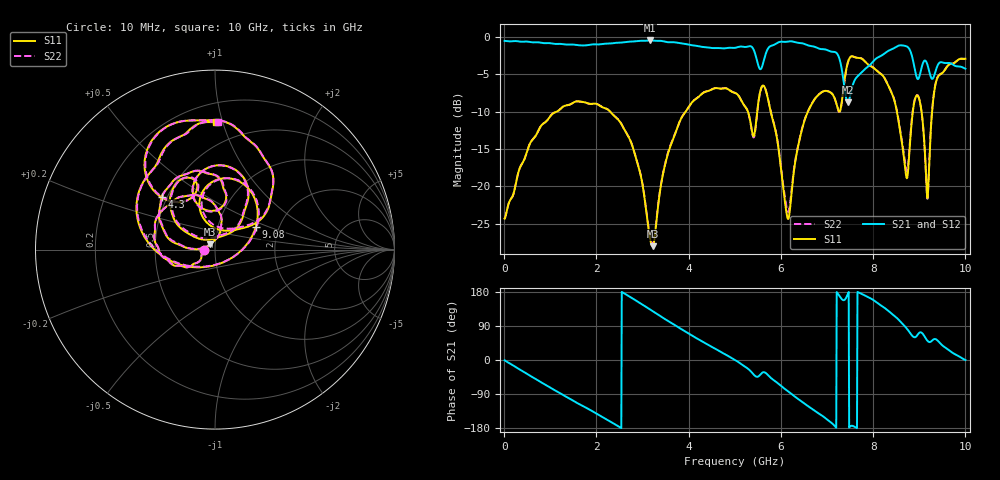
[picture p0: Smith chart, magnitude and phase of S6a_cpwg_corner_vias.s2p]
! kicad_em_sim: S-parameters of 2 ports, openEMS
# Hz S RI R 50
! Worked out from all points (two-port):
!   1000 points, 10 MHz to 10 GHz, reference 50 ohm
!   highest |S21| = -0.50 dB at 3.16 GHz (marker M1); lowest = -8.8 dB at 7.45 GHz (marker M2)
!   |S21| within 3 dB of the highest: start of sweep to 5.495 GHz; 5.616 GHz to 7.292 GHz (1.676 GHz wide, 26 % of centre)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
!   lowest |S11| = -28.0 dB at 3.22 GHz (marker M3), VSWR 1.08, Z = 47.3 + j2.78 ohm
!   |S11| at or under -10 dB: start of sweep to 1.147 GHz; 2.297 GHz to 3.937 GHz (1.64 GHz wide, 52.6 % of centre); 5.778 GHz to 6.587 GHz (808.9 MHz wide, 13.1 % of centre)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
!   |S22| runs from -27.7 to -2.6 dB; largest |S21 - S12| = 0.0018
!   S11 on the Smith chart (normalised r, x): 10 MHz: 0.89, -0.01; 4.3 GHz: 0.47, +0.33; 9.08 GHz: 1.52, +0.41; 10 GHz: 0.33, +0.95
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1e7  -0.0608 -0.00366  0.9377 -0.013  0.9377 -0.013  -0.0607 -0.00368
9.2e8  -0.2671 -0.0564  0.3544 -0.8337  0.3544 -0.8337  -0.2674 -0.0552
1.68e9  -0.3004 0.2117  -0.4346 -0.7585  -0.4346 -0.7584  -0.298 0.2137
2.7e9  0.0209 0.2124  -0.908 0.1839  -0.9079 0.1838  0.0218 0.2128
3.16e9  -0.00977 0.0442  -0.6504 0.6839  -0.6503 0.6838  -0.0101 0.0455
3.22e9  -0.0269 0.0294  -0.5898 0.7339  -0.5897 0.7339  -0.0274 0.0307
3.34e9  -0.0748 0.00446  -0.4642 0.816  -0.4641 0.816  -0.0755 0.00639
4.3e9  -0.2967 0.2947  0.5652 0.641  0.5651 0.6406  -0.2931 0.2989
5.01e9  -0.0196 0.4202  0.8429 -0.00632  0.8424 -0.00627  -0.0154 0.4208
5.4e9  -0.00319 0.217  0.6612 -0.5018  0.6611 -0.5017  0.000147 0.2134
5.66e9  0.1325 0.4306  0.6247 -0.4119  0.624 -0.4117  0.1269 0.4325
6.15e9  -0.00885 0.0601  0.1293 -0.9185  0.1293 -0.9179  -0.00906 0.0671
6.67e9  -0.2508 0.2524  -0.535 -0.6797  -0.5345 -0.679  -0.2454 0.259
7.18e9  -0.1002 0.3632  -0.7865 -0.056  -0.7856 -0.0561  -0.0937 0.3648
7.45e9  -0.3795 0.553  -0.3618 0.0367  -0.3614 0.0366  -0.3748 0.555
8.34e9  0.3198 0.3331  -0.5039 0.6312  -0.5035 0.63  0.3192 0.3364
8.72e9  0.0436 0.1068  0.0844 0.8591  0.0838 0.8577  0.0478 0.1182
8.92e9  0.0232 0.3933  0.2803 0.4981  0.2787 0.4975  0.0395 0.3954
9.08e9  0.2272 0.1247  0.2451 0.6195  0.2441 0.6197  0.2293 0.1163
9.18e9  0.0175 -0.0817  0.4116 0.498  0.4108 0.4982  0.011 -0.0819
9.36e9  -0.4379 0.2279  0.3447 0.4884  0.3446 0.4884  -0.4342 0.2408
1e10  0.00638 0.7124  0.6111 -0.000602  0.6102 -0.000312  0.0152 0.7127
